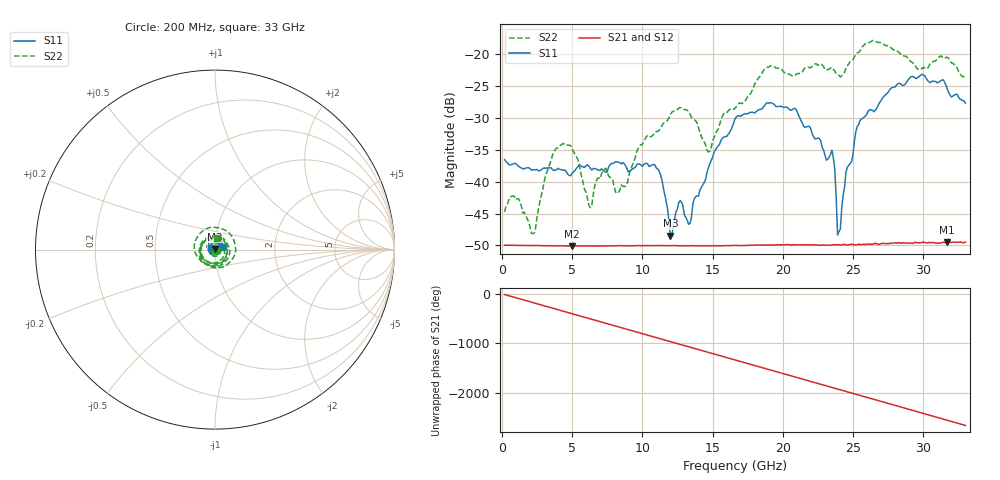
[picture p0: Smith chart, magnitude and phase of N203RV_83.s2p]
# GHZ S RI R 50
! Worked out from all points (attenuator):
!   329 points, 200 MHz to 33 GHz, reference 50 ohm
!   highest |S21| = -49.44 dB at 31.7 GHz (marker M1); lowest = -50.1 dB at 5 GHz (marker M2)
!   lowest |S11| = -48.5 dB at 12 GHz (marker M3), VSWR 1.01, Z = 49.8 + j0.299 ohm
!   |S11| at or under -10 dB: start of sweep to end of sweep
!   |S22| runs from -48.1 to -18.0 dB; largest |S21 - S12| = 7.2e-05
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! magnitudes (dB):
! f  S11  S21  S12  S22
! 200 MHz  -36.6  -50.0  -49.9  -44.7
! 1.2 GHz  -37.6  -50.0  -50.0  -42.7
! 2.3 GHz  -38.2  -50.0  -50.0  -48.1
! 3.7 GHz  -38.3  -50.0  -50.0  -35.4
! 5 GHz  -38.7  -50.1  -50.1  -34.8
! 5.7 GHz  -37.7  -50.1  -50.1  -39.4
! 6.3 GHz  -37.9  -50.1  -50.0  -44.1
! 7.4 GHz  -38.5  -50.1  -50.1  -37.9
! 8.3 GHz  -37.0  -50.0  -50.0  -41.8
! 11.2 GHz  -38.3  -50.0  -50.0  -32.0
! 12 GHz  -48.5  -50.0  -50.0  -29.5
! 14.7 GHz  -37.9  -50.0  -50.0  -35.4
! 16.6 GHz  -30.2  -50.0  -50.0  -28.5
! 18.8 GHz  -27.9  -49.9  -49.9  -22.2
! 22.1 GHz  -32.6  -49.9  -49.9  -22.0
! 23.5 GHz  -35.1  -49.9  -49.9  -22.2
! 23.7 GHz  -38.0  -49.9  -49.9  -22.7
! 23.9 GHz  -48.4  -49.9  -49.9  -23.3
! 25.3 GHz  -31.4  -49.9  -49.9  -19.9
! 27.6 GHz  -25.7  -49.6  -49.7  -18.9
! 31.7 GHz  -25.5  -49.4  -49.6  -20.6
! 33 GHz  -27.7  -49.5  -49.5  -23.9
